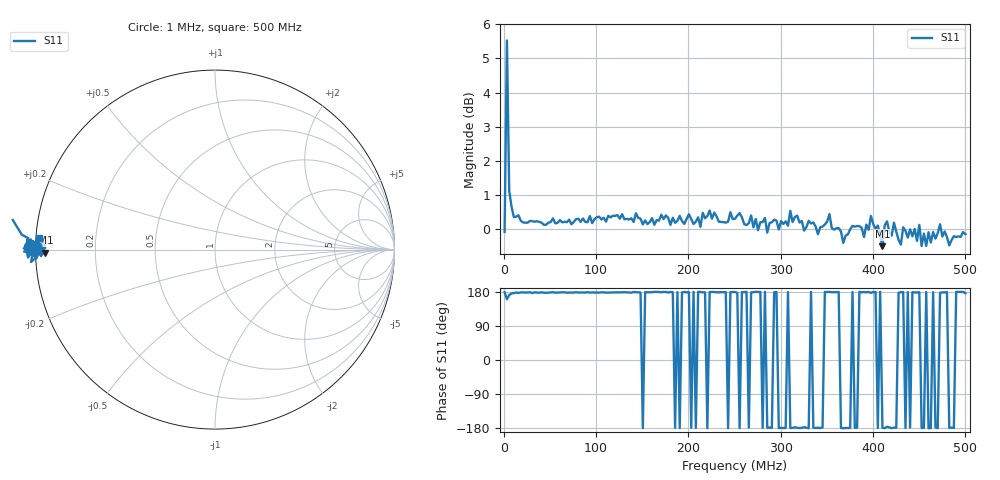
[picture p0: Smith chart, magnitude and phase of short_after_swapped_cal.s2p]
! PocketVna 1.54  pocketvna.com
! Live measurements ((Reflection-S11) Linear 1000000-500000000/201 calibrated)
# MHz S DB R 50
! MHz  dBS11  <S11  dBS21  <S21  dBS12  <S12  dBS22  <S22
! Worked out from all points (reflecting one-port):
!   201 points, 1 MHz to 500 MHz, reference 50 ohm
!   lowest |S11| = -0.5 dB at 410.2 MHz (marker M1), VSWR 35.31, Z = 1.42 - j0.45 ohm
!   phase of S11 starts at 179 deg and turns -3 deg over the sweep
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1  -0.08 178.8  -200.00 0.0  -200.00 0.0  -200.00 0.0
3.495  5.53 160.2  -200.00 0.0  -200.00 0.0  -200.00 0.0
5.99  1.13 171.7  -200.00 0.0  -200.00 0.0  -200.00 0.0
10.98  0.36 176.5  -200.00 0.0  -200.00 0.0  -200.00 0.0
85.83  0.32 178.0  -200.00 0.0  -200.00 0.0  -200.00 0.0
168.165  0.25 179.3  -200.00 0.0  -200.00 0.0  -200.00 0.0
250.5  0.31 179.4  -200.00 0.0  -200.00 0.0  -200.00 0.0
335.33  0.20 -178.5  -200.00 0.0  -200.00 0.0  -200.00 0.0
352.795  0.45 179.6  -200.00 0.0  -200.00 0.0  -200.00 0.0
367.765  -0.40 -180.0  -200.00 0.0  -200.00 0.0  -200.00 0.0
397.705  0.39 177.1  -200.00 0.0  -200.00 0.0  -200.00 0.0
410.18  -0.49 -179.0  -200.00 0.0  -200.00 0.0  -200.00 0.0
412.675  0.12 -179.7  -200.00 0.0  -200.00 0.0  -200.00 0.0
417.665  -0.08 -177.8  -200.00 0.0  -200.00 0.0  -200.00 0.0
427.645  -0.31 177.4  -200.00 0.0  -200.00 0.0  -200.00 0.0
440.12  0.00 -178.2  -200.00 0.0  -200.00 0.0  -200.00 0.0
447.605  -0.34 178.1  -200.00 0.0  -200.00 0.0  -200.00 0.0
450.1  0.13 179.0  -200.00 0.0  -200.00 0.0  -200.00 0.0
467.565  -0.27 -177.9  -200.00 0.0  -200.00 0.0  -200.00 0.0
472.555  0.15 177.4  -200.00 0.0  -200.00 0.0  -200.00 0.0
485.03  -0.31 -178.3  -200.00 0.0  -200.00 0.0  -200.00 0.0
500  -0.14 176.2  -200.00 0.0  -200.00 0.0  -200.00 0.0
